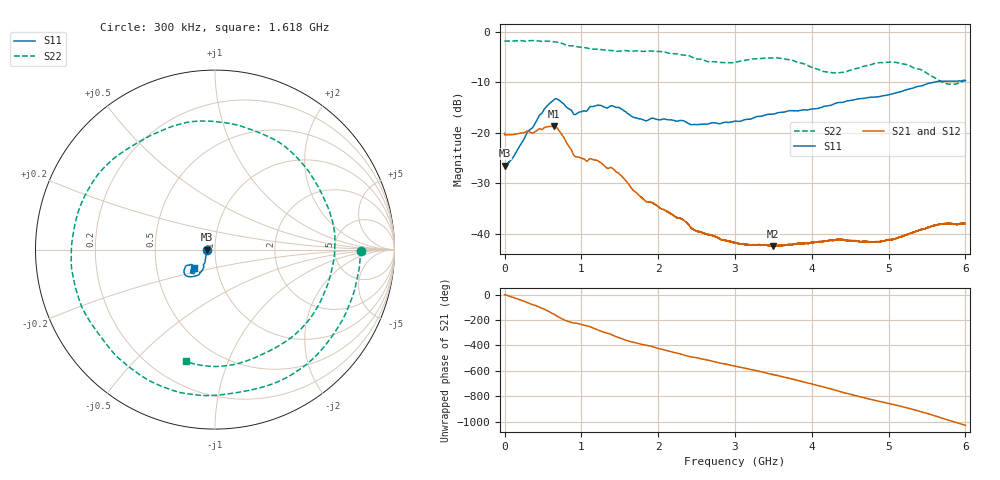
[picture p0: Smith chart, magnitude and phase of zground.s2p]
!  8/6/2020  03:26:11
! Ref Plane: 0.000 mm
# MHZ S MA R  50
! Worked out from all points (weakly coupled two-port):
!   10001 points, 300 kHz to 6 GHz, reference 50 ohm
!   highest |S21| = -18.70 dB at 645.9 MHz (marker M1); lowest = -42.5 dB at 3.497 GHz (marker M2)
!   lowest |S11| = -26.5 dB at 300 kHz (marker M3), VSWR 1.10, Z = 45.5 + j0.0436 ohm
!   |S11| at or under -10 dB: start of sweep to 5.591 GHz
!   |S22| runs from -10.4 to -1.7 dB; largest |S21 - S12| = 0.0026
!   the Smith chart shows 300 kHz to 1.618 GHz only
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0.3  0.04727 179.4  0.09895 -1.0  0.09636 -0.8  0.8143 -0.4
328.4836  0.1068 -127.2  0.1017 -72.6  0.1018 -72.6  0.8157 -95.6
645.8677  0.2131 -135.4  0.1161 -155.8  0.1163 -155.9  0.7944 172.6
1000.45  0.1611 -136.7  0.05587 124.3  0.05588 124.3  0.6982 72.1
1253.637  0.1864 -137.3  0.05058 71.6  0.05061 71.6  0.6669 -1.3
1543.423  0.1676 -139.3  0.03586 8.8  0.03588 8.8  0.6498 -84.4
1791.81  0.1354 -127.7  0.02254 -33.0  0.02259 -32.9  0.6399 -151.5
2000.6  0.1344 -118.5  0.01853 -64.1  0.01853 -64.1  0.6377 154.7
2261.587  0.1306 -108.5  0.01422 -102.8  0.01427 -103.1  0.6004 87.7
2548.373  0.121 -94.5  0.01043 -144.3  0.01041 -144.2  0.536 8.4
2786.561  0.123 -82.9  0.00901 -177.6  0.009094 -177.3  0.4984 -64.0
3000.15  0.1299 -71.2  0.008071 156.4  0.008156 156.8  0.4974 -129.4
3228.739  0.1388 -61.1  0.007756 127.8  0.007722 127.5  0.538 167.6
3496.925  0.1527 -51.8  0.007512 89.5  0.00757 89.8  0.5514 101.2
3774.111  0.1648 -43.5  0.007908 51.1  0.007912 50.6  0.5131 35.2
4000.3  0.1715 -35.9  0.008104 16.2  0.008177 16.9  0.4443 -25.5
4236.088  0.1865 -26.8  0.008553 -20.9  0.008554 -20.9  0.3969 -98.7
4506.075  0.2092 -20.6  0.008488 -65.5  0.008519 -65.8  0.416 175.3
5000.45  0.2374 -10.6  0.008732 -137.3  0.008684 -137.3  0.4988 51.2
5251.837  0.2688 -5.5  0.009841 -173.7  0.009842 -173.7  0.4697 -4.3
5526.024  0.3087 -3.2  0.01162 139.8  0.01161 139.5  0.3768 -74.3
6000  0.3272 -8.7  0.01255 49.8  0.01258 49.9  0.3333 126.5
